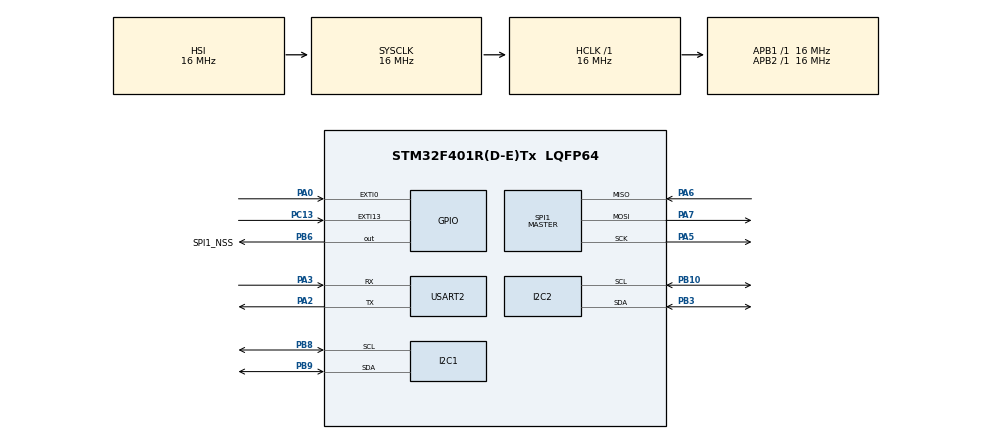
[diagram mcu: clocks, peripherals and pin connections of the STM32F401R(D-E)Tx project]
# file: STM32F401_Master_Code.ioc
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I2C2.OwnAddress=82
Mcu.Family=STM32F4
Mcu.Name=STM32F401R(D-E)Tx
Mcu.Package=LQFP64
NVIC.EXTI0_IRQn=true\:0\:0\:false\:false\:true\:true\:true\:true
NVIC.EXTI15_10_IRQn=true\:0\:0\:false\:false\:true\:true\:true\:true
NVIC.PriorityGroup=NVIC_PRIORITYGROUP_4
PA0-WKUP.GPIO_ModeDefaultEXTI=GPIO_MODE_IT_FALLING
PA0-WKUP.GPIO_PuPd=GPIO_PULLUP
PA0-WKUP.Signal=GPXTI0
PA13.Mode=Serial_Wire
PA13.Signal=SYS_JTMS-SWDIO
PA14.Mode=Serial_Wire
PA14.Signal=SYS_JTCK-SWCLK
PA2.Mode=Asynchronous
PA2.Signal=USART2_TX
PA3.Mode=Asynchronous
PA3.Signal=USART2_RX
PA5.Mode=Full_Duplex_Master
PA5.Signal=SPI1_SCK
PA6.Mode=Full_Duplex_Master
PA6.Signal=SPI1_MISO
PA7.Mode=Full_Duplex_Master
PA7.Signal=SPI1_MOSI
PB10.Mode=I2C
PB10.Signal=I2C2_SCL
PB3.Mode=I2C
PB3.Signal=I2C2_SDA
PB6.GPIO_Label=SPI1_NSS
PB6.Signal=GPIO_Output
PB8.Mode=I2C
PB8.Signal=I2C1_SCL
PB9.Mode=I2C
PB9.Signal=I2C1_SDA
PC13-ANTI_TAMP.GPIO_ModeDefaultEXTI=GPIO_MODE_IT_FALLING
PC13-ANTI_TAMP.GPIO_PuPd=GPIO_PULLUP
PC13-ANTI_TAMP.Signal=GPXTI13
PH0\ -\ OSC_IN.Mode=HSE-External-Oscillator
PH0\ -\ OSC_IN.Signal=RCC_OSC_IN
PH1\ -\ OSC_OUT.Mode=HSE-External-Oscillator
PH1\ -\ OSC_OUT.Signal=RCC_OSC_OUT
ProjectManager.HeapSize=0x200
ProjectManager.StackSize=0x400
ProjectManager.TargetToolchain=STM32CubeIDE
RCC.AHBFreq_Value=16000000
RCC.APB1Freq_Value=16000000
RCC.APB2Freq_Value=16000000
RCC.CortexFreq_Value=16000000
RCC.HSE_VALUE=25000000
RCC.HSI_VALUE=16000000
RCC.LSE_VALUE=32768
RCC.SYSCLKFreq_VALUE=16000000
RCC.VCOOutputFreq_Value=192000000
SPI1.Direction=SPI_DIRECTION_2LINES
SPI1.Mode=SPI_MODE_MASTER
SPI1.VirtualType=VM_MASTER
USART2.VirtualMode=VM_ASYNC
board=custom

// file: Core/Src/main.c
/* USER CODE BEGIN Header */
/**
  ******************************************************************************
  * @file           : main.c
  * @brief          : Main program body
  ******************************************************************************
  * @attention
  *
  * Copyright (c) 2026 STMicroelectronics.
  * All rights reserved.
  *
  * This software is licensed under terms that can be found in the LICENSE file
  * in the root directory of this software component.
  * If no LICENSE file comes with this software, it is provided AS-IS.
  *
  ******************************************************************************
  */
/* USER CODE END Header */
#include "main.h"
#include "i2c.h"
#include "spi.h"
#include "usart.h"
#include "gpio.h"

/* USER CODE BEGIN Includes */
#include <stdio.h>
#include <stdbool.h>
#include <string.h>

#include "ssd1306.h"
#include "ssd1306_tests.h"
#include "ssd1306_fonts.h"
/* USER CODE END Includes */

/* USER CODE BEGIN PD */
#define SLAVE_ADDR (0x52 << 1)
/* USER CODE END PD */

/* USER CODE BEGIN PV */
bool proto = false;
bool mode = true;

uint8_t data_tx = 0xAB;
uint8_t data_rx = 0;

char buf[50];
/* USER CODE END PV */

void SystemClock_Config(void);

/* USER CODE BEGIN 0 */
void HAL_GPIO_EXTI_Callback(uint16_t GPIO_Pin)
{
    if(GPIO_Pin == GPIO_PIN_13)
    {
    	proto = !proto;
    }

    if(GPIO_Pin == GPIO_PIN_0)
    {
    	mode = !mode;
    }
}
/* USER CODE END 0 */

int main(void)
{

  /* MCU Configuration--------------------------------------------------------*/

  /* Reset of all peripherals, Initializes the Flash interface and the Systick. */
  HAL_Init();

  /* Configure the system clock */
  SystemClock_Config();

  /* Initialize all configured peripherals */
  MX_GPIO_Init();
  MX_I2C1_Init();
  MX_I2C2_Init();
  MX_SPI1_Init();
  MX_USART2_UART_Init();
  /* USER CODE BEGIN 2 */
  ssd1306_Init();

  HAL_Delay(500);
  /* USER CODE END 2 */

  /* Infinite loop */
  while (1)
  {
	  if (proto)
	  {
			ssd1306_Fill(Black);

			ssd1306_SetCursor(0, 0);
			snprintf(buf, sizeof(buf), "I2C Master");
			ssd1306_WriteString(buf, Font_7x10, White);

			if (mode)
			{
				ssd1306_SetCursor(0, 11);
				snprintf(buf, sizeof(buf), "Transmit");
				ssd1306_WriteString(buf, Font_7x10, White);

				HAL_I2C_Master_Transmit(&hi2c2, SLAVE_ADDR, &data_tx, 1, 200);
			}
			else
			{
		        ssd1306_SetCursor(0, 11);
		        snprintf(buf, sizeof(buf), "Receive");
		        ssd1306_WriteString(buf, Font_7x10, White);

		        HAL_StatusTypeDef ret = HAL_I2C_Master_Receive(&hi2c2, SLAVE_ADDR, &data_rx, 1, 200);

				ssd1306_SetCursor(0, 22);
				if (ret == HAL_OK)
				{
				    snprintf(buf, sizeof(buf), "Data: 0x%02X", data_rx);
				}
				else
				{
				    snprintf(buf, sizeof(buf), "Data: None");
				}
				ssd1306_WriteString(buf, Font_7x10, White);

		        HAL_Delay(500);
			}
			ssd1306_UpdateScreen();
	  }
	  else
	  {
		  ssd1306_Fill(Black);

		  ssd1306_SetCursor(0, 0);
		  snprintf(buf, sizeof(buf), "SPI Master");
		  ssd1306_WriteString(buf, Font_7x10, White);

		  // Xóa if/else mode, thay bằng:
		  ssd1306_SetCursor(0, 11);
		  snprintf(buf, sizeof(buf), "TX:0x%02X", data_tx);
		  ssd1306_WriteString(buf, Font_7x10, White);

		  HAL_GPIO_WritePin(SPI1_NSS_GPIO_Port, SPI1_NSS_Pin, GPIO_PIN_RESET);
		  HAL_SPI_TransmitReceive(&hspi1, &data_tx, &data_rx, 1, 1000);
		  HAL_GPIO_WritePin(SPI1_NSS_GPIO_Port, SPI1_NSS_Pin, GPIO_PIN_SET);

		  ssd1306_SetCursor(0, 22);
		  snprintf(buf, sizeof(buf), "RX:0x%02X", data_rx);
		  ssd1306_WriteString(buf, Font_7x10, White);

		  ssd1306_UpdateScreen();
		  HAL_Delay(500);
	  }
  }
}

void SystemClock_Config(void)
{
  RCC_OscInitTypeDef RCC_OscInitStruct = {0};
  RCC_ClkInitTypeDef RCC_ClkInitStruct = {0};

  /** Configure the main internal regulator output voltage
  */
  __HAL_RCC_PWR_CLK_ENABLE();
  __HAL_PWR_VOLTAGESCALING_CONFIG(PWR_REGULATOR_VOLTAGE_SCALE2);

  /** Initializes the RCC Oscillators according to the specified parameters
  * in the RCC_OscInitTypeDef structure.
  */
  RCC_OscInitStruct.OscillatorType = RCC_OSCILLATORTYPE_HSI;
  RCC_OscInitStruct.HSIState = RCC_HSI_ON;
  RCC_OscInitStruct.HSICalibrationValue = RCC_HSICALIBRATION_DEFAULT;
  RCC_OscInitStruct.PLL.PLLState = RCC_PLL_NONE;
  if (HAL_RCC_OscConfig(&RCC_OscInitStruct) != HAL_OK)
  {
    Error_Handler();
  }

  /** Initializes the CPU, AHB and APB buses clocks
  */
  RCC_ClkInitStruct.ClockType = RCC_CLOCKTYPE_HCLK|RCC_CLOCKTYPE_SYSCLK
                              |RCC_CLOCKTYPE_PCLK1|RCC_CLOCKTYPE_PCLK2;
  RCC_ClkInitStruct.SYSCLKSource = RCC_SYSCLKSOURCE_HSI;
  RCC_ClkInitStruct.AHBCLKDivider = RCC_SYSCLK_DIV1;
  RCC_ClkInitStruct.APB1CLKDivider = RCC_HCLK_DIV1;
  RCC_ClkInitStruct.APB2CLKDivider = RCC_HCLK_DIV1;

  if (HAL_RCC_ClockConfig(&RCC_ClkInitStruct, FLASH_LATENCY_0) != HAL_OK)
  {
    Error_Handler();
  }
}

void Error_Handler(void)
{
  __disable_irq();
  while (1)
  {
  }
}
